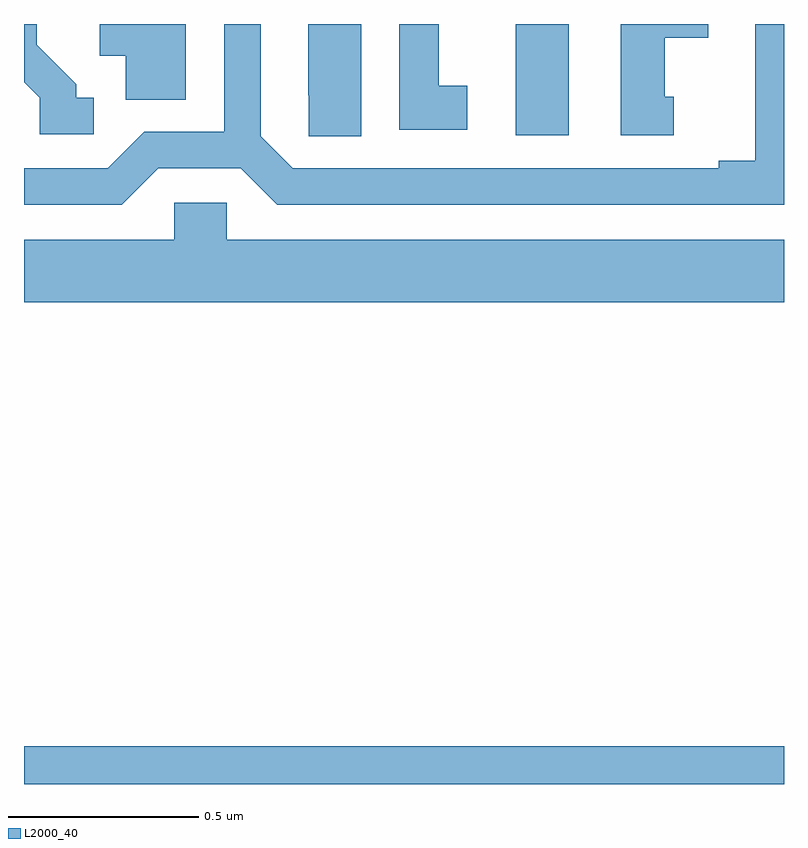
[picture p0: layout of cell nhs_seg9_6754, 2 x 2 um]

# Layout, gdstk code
import gdstk
lib = gdstk.Library(unit=1e-6, precision=1e-09)
def R(c, l, rs):  # rectangles x0, y0, x1, y1
    for r in rs: c.add(gdstk.rectangle(r[:2], r[2:], *l))
def P(c, l, *ps):  # polygons
    for p in ps: c.add(gdstk.Polygon(p, *l))
L2000_40 = (2000, 40)

nhs_seg9_6754 = lib.new_cell('nhs_seg9_6754')
R(nhs_seg9_6754, L2000_40, [(196,1180.5,198,1180.6), (197.294,1182.207,197.434,1182.5)])
P(nhs_seg9_6754, L2000_40, [(196.426,1182.5),(196.199,1182.5),(196.199,1182.416),(196.268,1182.416),(196.268,1182.301),(196.426,1182.301)],
  [(196.183,1182.306),(196.138,1182.306),(196.138,1182.341),(196.033,1182.446),(196.033,1182.5),(196,1182.5),(196,1182.347),(196.041,1182.306),(196.041,1182.21),(196.183,1182.21)],
  [(197.167,1182.338),(197.092,1182.338),(197.092,1182.5),(196.988,1182.5),(196.988,1182.222),(197.167,1182.222)],
  [(196.353,1182.12),(196.571,1182.12),(196.667,1182.024),(198,1182.024),(198,1182.5),(197.924,1182.5),(197.924,1182.14),(197.828,1182.14),(197.828,1182.12),(196.707,1182.12),(196.623,1182.204),(196.623,1182.5),(196.527,1182.5),(196.527,1182.216),(196.317,1182.216),(196.221,1182.12),(196,1182.12),(196,1182.024),(196.257,1182.024)],
  [(196.888,1182.5),(196.748,1182.5),(196.748,1182.313),(196.749,1182.313),(196.749,1182.205),(196.888,1182.205)],
  [(197.71,1182.309),(197.686,1182.309),(197.686,1182.464),(197.8,1182.464),(197.8,1182.5),(197.57,1182.5),(197.57,1182.207),(197.71,1182.207)],
  [(198,1181.932),(196.533,1181.932),(196.533,1182.03),(196.395,1182.03),(196.395,1181.932),(196,1181.932),(196,1181.768),(198,1181.768)])

lib.write_gds('nhs_seg9_6754.gds')
